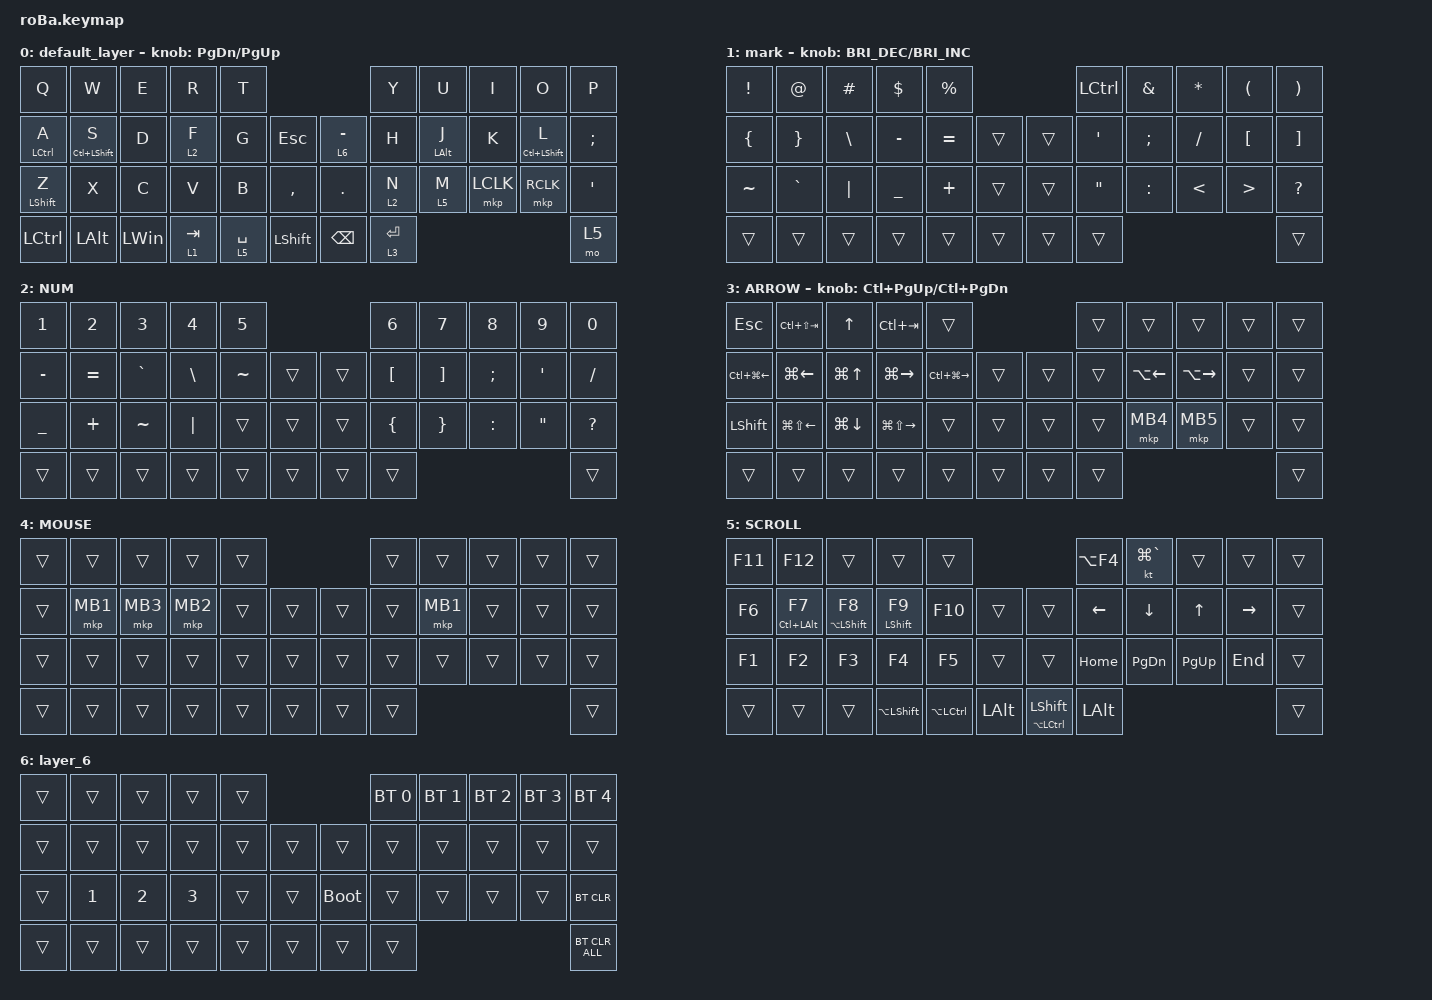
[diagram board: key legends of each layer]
#include <behaviors.dtsi>
#include <dt-bindings/zmk/bt.h>
#include <dt-bindings/zmk/keys.h>
#include <dt-bindings/zmk/pointing.h>

#define MOUSE 4
#define SCROLL 5
#define NUM 6

&mt {
    flavor = "balanced";
    quick-tap-ms = <0>;
};

&trackball {
    automouse-layer = <4>;
    scroll-layers = <5>;
};

/ {
    combos {
        compatible = "zmk,combos";

        tab {
            bindings = <&kp TAB>;
            key-positions = <11 12>;
        };

        lck {
            bindings = <&mkp LCLK>;
            key-positions = <12 13>;
        };

        muhennkann {
            bindings = <&to_layer_0 INT_MUHENKAN>;
            key-positions = <11 10>;
        };

        eq {
            bindings = <&kp EQUAL>;
            key-positions = <24 25>;
        };

        esc {
            bindings = <&kp ESCAPE>;
            key-positions = <18 19>;
        };

        del {
            bindings = <&kp DELETE>;
            key-positions = <21 20>;
        };

        mouse3 {
            bindings = <&mkp MB3>;
            key-positions = <32 31>;
        };

        ctrl_space {
            bindings = <&kp LC(SPACE)>;
            key-positions = <19 20>;
        };
    };

    macros {
        to_layer_0: to_layer_0 {
            compatible = "zmk,behavior-macro-one-param";
            #binding-cells = <1>;
            bindings = <&to 0 &macro_param_1to1 &kp MACRO_PLACEHOLDER>;
            label = "TO_LAYER_0";
        };

        app_end: app_end {
            compatible = "zmk,behavior-macro";
            #binding-cells = <0>;
            bindings = <&none>;
            label = "APP_END";
        };
    };

    behaviors {
        lt_to_layer_0: lt_to_layer_0 {
            compatible = "zmk,behavior-hold-tap";
            label = "LAYER_TAP_TO_0";
            bindings = <&mo>, <&to_layer_0>;

            #binding-cells = <2>;
            tapping-term-ms = <200>;
        };
    };

    keymap {
        compatible = "zmk,keymap";

        default_layer {
            bindings = <
&kp Q             &kp W                 &kp E         &kp R                 &kp T                                                           &kp Y        &kp U           &kp I      &kp O                 &kp P
&mt LCTRL A       &mt LC(LEFT_SHIFT) S  &kp D         &lt 2 F               &kp G        &kp ESCAPE                  &lt 6 MINUS            &kp H        &mt LEFT_ALT J  &kp K      &mt LC(LEFT_SHIFT) L  &kp SEMICOLON
&mt LEFT_SHIFT Z  &kp X                 &kp C         &kp V                 &kp B        &kp COMMA                   &kp PERIOD             &lt 2 N      &lt 5 M         &mkp LCLK  &mkp RCLK             &kp SQT
&kp LCTRL         &kp LEFT_ALT          &kp LEFT_WIN  &lt_to_layer_0 1 TAB  &lt 5 SPACE  &kp LEFT_SHIFT              &kp BACKSPACE          &lt 3 ENTER                                                   &mo 5
            >;

            sensor-bindings = <&inc_dec_kp PAGE_DOWN PAGE_UP>;
        };

        mark {
            bindings = <
&kp EXCLAMATION  &kp AT_SIGN      &kp HASH       &kp DOLLAR      &kp PERCENT                      &kp LCTRL          &kp AMPERSAND  &kp ASTERISK   &kp LEFT_PARENTHESIS  &kp RIGHT_PARENTHESIS
&kp LEFT_BRACE   &kp RIGHT_BRACE  &kp BACKSLASH  &kp MINUS       &kp EQUAL    &trans      &trans  &kp SQT            &kp SEMICOLON  &kp SLASH      &kp LEFT_BRACKET      &kp RIGHT_BRACKET
&kp TILDE        &kp GRAVE        &kp PIPE       &kp UNDERSCORE  &kp PLUS     &trans      &trans  &kp DOUBLE_QUOTES  &kp COLON      &kp LESS_THAN  &kp GREATER_THAN      &kp QUESTION
&trans           &trans           &trans         &trans          &trans       &trans      &trans  &trans                                                                 &trans
            >;

            sensor-bindings = <&inc_dec_kp C_BRIGHTNESS_DEC C_BRIGHTNESS_INC>;
        };

        NUM {
            bindings = <
&kp NUMBER_1      &kp NUMBER_2  &kp NUMBER_3  &kp NUMBER_4   &kp NUMBER_5                             &kp NUMBER_6       &kp NUMBER_7       &kp NUMBER_8   &kp NUMBER_9          &kp NUMBER_0
&kp MINUS         &kp EQUAL     &kp GRAVE     &kp BACKSLASH  &kp TILDE      &trans       &trans       &kp LEFT_BRACKET   &kp RIGHT_BRACKET  &kp SEMICOLON  &kp SQT               &kp SLASH
&kp UNDERSCORE    &kp PLUS      &kp TILDE     &kp PIPE       &trans         &trans       &trans       &kp LEFT_BRACE     &kp RIGHT_BRACE    &kp COLON      &kp DOUBLE_QUOTES     &kp QUESTION
&trans            &trans        &trans        &trans         &trans         &trans       &trans       &trans                                                                     &trans
            >;
        };

        ARROW {
            bindings = <
&kp ESCAPE        &kp LC(LS(TAB))         &kp UP_ARROW      &kp LC(TAB)              &trans                                 &trans  &trans        &trans         &trans  &trans
&kp LC(LG(LEFT))  &kp LG(LEFT)            &kp LG(UP_ARROW)  &kp LG(RIGHT)            &kp LC(LG(RIGHT))  &trans      &trans  &trans  &kp LA(LEFT)  &kp LA(RIGHT)  &trans  &trans
&kp LEFT_SHIFT    &kp LG(LS(LEFT_ARROW))  &kp LG(DOWN)      &kp LG(LS(RIGHT_ARROW))  &trans             &trans      &trans  &trans  &mkp MB4      &mkp MB5       &trans  &trans
&trans            &trans                  &trans            &trans                   &trans             &trans      &trans  &trans                                       &trans
            >;

            sensor-bindings = <&inc_dec_kp LC(PAGE_UP) LC(PAGE_DOWN)>;
        };

        MOUSE {
            bindings = <
&trans  &trans    &trans    &trans    &trans                      &trans  &trans    &trans    &trans    &trans
&trans  &mkp MB1  &mkp MB3  &mkp MB2  &trans  &trans      &trans  &trans  &mkp MB1  &trans    &trans    &trans
&trans  &trans    &trans    &trans    &trans  &trans      &trans  &trans  &trans    &trans    &trans    &trans
&trans  &trans    &trans    &trans    &trans  &trans      &trans  &trans                                &trans
            >;
        };

        SCROLL {
            bindings = <
&kp F11  &kp F12              &trans                 &trans             &trans                                                     &kp LA(F4)      &kt LG(GRAVE)   &trans        &trans           &trans
&kp F6   &mt LC(LEFT_ALT) F7  &mt LA(LEFT_SHIFT) F8  &mt LEFT_SHIFT F9  &kp F10        &trans            &trans                    &kp LEFT_ARROW  &kp DOWN_ARROW  &kp UP_ARROW  &kp RIGHT_ARROW  &trans
&kp F1   &kp F2               &kp F3                 &kp F4             &kp F5         &trans            &trans                    &kp HOME        &kp PAGE_DOWN   &kp PAGE_UP   &kp END          &trans
&trans   &trans               &trans                 &kp LA(LSHFT)      &kp LA(LCTRL)  &kp LEFT_ALT      &mt LA(LCTRL) LEFT_SHIFT  &kp LEFT_ALT                                                   &trans
            >;
        };

        layer_6 {
            bindings = <
&trans  &trans        &trans        &trans        &trans                           &bt BT_SEL 0  &bt BT_SEL 1  &bt BT_SEL 2  &bt BT_SEL 3  &bt BT_SEL 4
&trans  &trans        &trans        &trans        &trans  &trans      &trans       &trans        &trans        &trans        &trans        &trans
&trans  &kp NUMBER_1  &kp NUMBER_2  &kp NUMBER_3  &trans  &trans      &bootloader  &trans        &trans        &trans        &trans        &bt BT_CLR
&trans  &trans        &trans        &trans        &trans  &trans      &trans       &trans                                                  &bt BT_CLR_ALL
            >;
        };
    };
};
